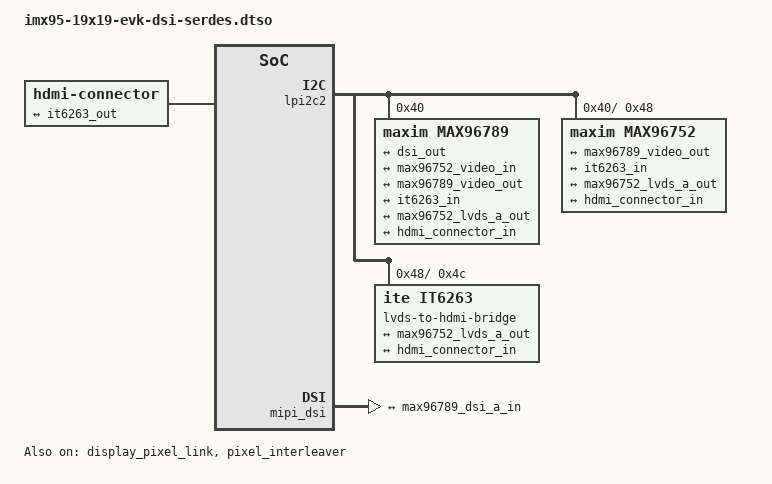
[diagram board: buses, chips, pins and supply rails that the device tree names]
// SPDX-License-Identifier: (GPL-2.0+ OR MIT)
/*
 * Copyright 2023 NXP
 */

/dts-v1/;
/plugin/;

#include <dt-bindings/clock/fsl,imx95-clock.h>

&{/} {
	hdmi-connector {
		compatible = "hdmi-connector";
		label = "hdmi";
		type = "a";

		port {
			hdmi_connector_in: endpoint {
				remote-endpoint = <&it6263_out>;
			};
		};
	};
};

&display_pixel_link {
	status = "okay";
};

&dpu {
	assigned-clocks = <&scmi_clk IMX95_CLK_DISP1PIX>,
			  <&scmi_clk IMX95_CLK_VIDEOPLL1_VCO>,
			  <&scmi_clk IMX95_CLK_VIDEOPLL1>;
	assigned-clock-parents = <&scmi_clk IMX95_CLK_VIDEOPLL1>;
	assigned-clock-rates = <0>, <4008000000>, <445333334>;
};

&lpi2c2 {
	#address-cells = <1>;
	#size-cells = <0>;

	max96789: mipi_dsi_serializer@40 {
		#address-cells = <1>;
		#size-cells = <0>;

		compatible = "maxim,max96789";
		reg = <0x40>;
		status = "okay";

		maxim,gmsl-links-types = <2 2>;
		maxim,gmsl2-link-speed = <6>;
		maxim,gmsl2-dual-link;

		/* DSI port 0 */
		max96789_dsi_bridge@0 {
			reg = <0>;

			compatible = "maxim,max96789-dsi";

			port {
				#address-cells = <1>;
				#size-cells = <0>;

				max96789_dsi_a_in: endpoint@0 {
					reg = <0>;

					remote-endpoint = <&dsi_out>;
					data-lanes = <1 2 3 4>;
				};

				max96789_video_out: endpoint@1 {
					reg = <1>;

					remote-endpoint = <&max96752_video_in>;
				};
			};
		};

		i2c-mux {
			#address-cells = <1>;
			#size-cells = <0>;

			/* gmsl a */
			i2c@0 {
				#address-cells = <1>;
				#size-cells = <0>;

				reg = <0>;

				max96752: mipi_dsi_deserializer@48 {
					compatible = "maxim,max96752";
					reg = <0x48>;
					status = "okay";

					maxim,gmsl2-link-speed = <6>;
					maxim,gmsl2-dual-link;

					max96752_lvds_bridge {
						compatible = "maxim,max96752-lvds";

						port {
							#address-cells = <1>;
							#size-cells = <0>;

							max96752_video_in: endpoint@0 {
								reg = <0>;

								remote-endpoint = <&max96789_video_out>;
							};

							max96752_lvds_a_out: endpoint@1 {
								reg = <1>;

								remote-endpoint = <&it6263_in>;
							};
						};
					};

					i2c-gate {
						#address-cells = <1>;
						#size-cells = <0>;

						lvds-to-hdmi-bridge@4c {
							compatible = "ite,it6263";
							reg = <0x4c>;

							ports {
								#address-cells = <1>;
								#size-cells = <0>;

								port@0 {
									reg = <0>;

									it6263_in: endpoint {
										remote-endpoint = <&max96752_lvds_a_out>;
									};
								};

								port@1 {
									reg = <1>;

									it6263_out: endpoint {
										remote-endpoint = <&hdmi_connector_in>;
									};
								};
							};
						};
					};
				};
			};
		};
	};
};

&mipi_dsi {
	status = "okay";

	ports {
		#address-cells = <1>;
		#size-cells = <0>;

		port@1 {
			reg = <1>;

			dsi_out: endpoint {
				remote-endpoint = <&max96789_dsi_a_in>;
			};
		};
	};
};

&pixel_interleaver {
	#address-cells = <1>;
	#size-cells = <0>;
	status = "okay";

	channel@0 {
		reg = <0>;
		status = "okay";
	};
};
